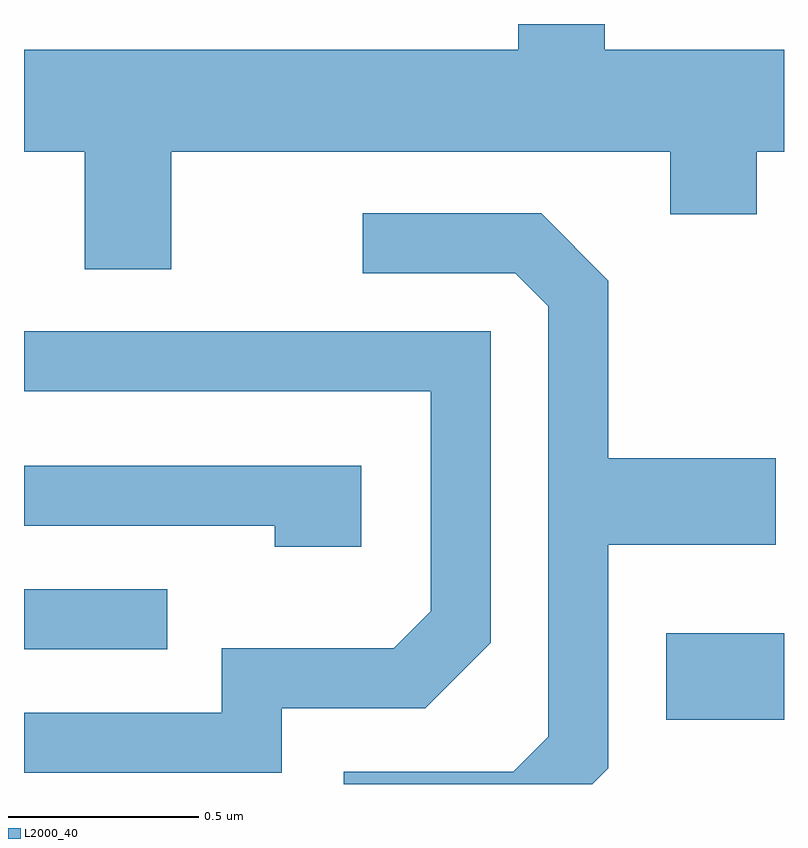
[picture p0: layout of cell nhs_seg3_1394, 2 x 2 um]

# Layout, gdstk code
import gdstk
lib = gdstk.Library(unit=1e-6, precision=1e-09)
def R(c, l, rs):  # rectangles x0, y0, x1, y1
    for r in rs: c.add(gdstk.rectangle(r[:2], r[2:], *l))
def P(c, l, *ps):  # polygons
    for p in ps: c.add(gdstk.Polygon(p, *l))
L2000_40 = (2000, 40)

nhs_seg3_1394 = lib.new_cell('nhs_seg3_1394')
R(nhs_seg3_1394, L2000_40, [(197.301,1140.061,197.611,1140.289), (195.611,1140.246,195.988,1140.404)])
P(nhs_seg3_1394, L2000_40, [(195.999,1141.556),(197.311,1141.556),(197.311,1141.391),(197.539,1141.391),(197.539,1141.556),(197.611,1141.556),(197.611,1141.824),(197.139,1141.824),(197.139,1141.892),(196.911,1141.892),(196.911,1141.824),(195.611,1141.824),(195.611,1141.556),(195.771,1141.556),(195.771,1141.246),(195.999,1141.246)],
  [(197.149,1139.934),(197.149,1140.521),(197.589,1140.521),(197.589,1140.749),(197.149,1140.749),(197.149,1141.217),(196.972,1141.394),(196.503,1141.394),(196.503,1141.236),(196.904,1141.236),(196.991,1141.149),(196.991,1140.017),(196.899,1139.924),(196.453,1139.924),(196.453,1139.892),(197.107,1139.892)],
  [(196.289,1140.091),(196.667,1140.091),(196.839,1140.264),(196.839,1141.084),(195.611,1141.084),(195.611,1140.926),(196.681,1140.926),(196.681,1140.347),(196.584,1140.249),(196.131,1140.249),(196.131,1140.079),(195.611,1140.079),(195.611,1139.921),(196.289,1139.921)],
  [(196.499,1140.729),(195.611,1140.729),(195.611,1140.571),(196.271,1140.571),(196.271,1140.516),(196.499,1140.516)])

lib.write_gds('nhs_seg3_1394.gds')
